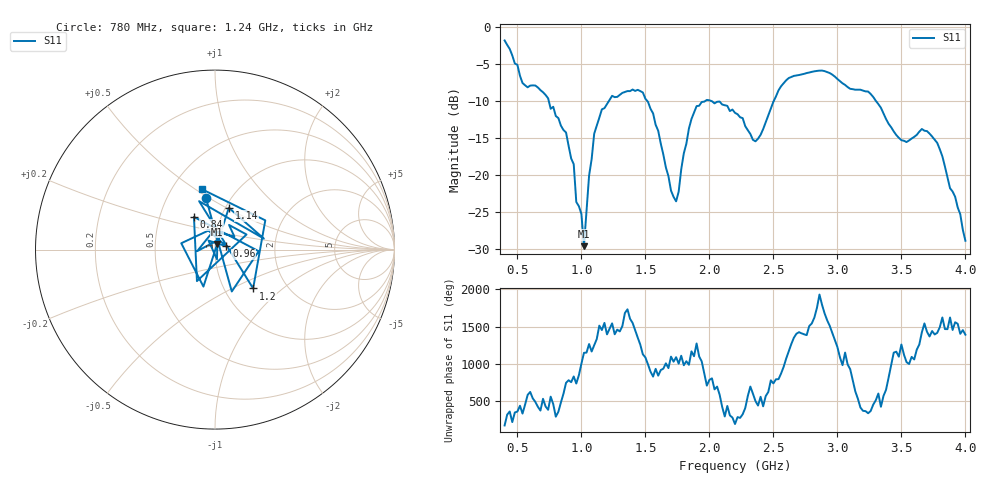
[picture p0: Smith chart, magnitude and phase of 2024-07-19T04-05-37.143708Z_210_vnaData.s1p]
!Created with skrf (http://scikit-rf.org).
# Hz S RI R 50.0
!freq ReS11 ImS11
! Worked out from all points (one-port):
!   181 points, 400 MHz to 4 GHz, reference 50 ohm
!   lowest |S11| = -29.6 dB at 1.02 GHz (marker M1), VSWR 1.07, Z = 51.2 + j3.15 ohm
!   |S11| at or under -10 dB: 745.7 MHz to 1.213 GHz (466.9 MHz wide, 47.7 % of centre); 2.021 GHz to 2.502 GHz (481.1 MHz wide, 21.3 % of centre); 3.303 GHz to end of sweep (the widest 3 of 4)
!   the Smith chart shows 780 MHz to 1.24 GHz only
!   S11 on the Smith chart (normalised r, x): 780 MHz: 0.77, +0.48; 840 MHz: 0.74, +0.28; 960 MHz: 1.13, +0.04; 1.14 GHz: 1.04, +0.51; 1.2 GHz: 1.36, -0.65; 1.24 GHz: 0.70, +0.53
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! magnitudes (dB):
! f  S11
! 400 MHz  -1.8
! 540 MHz  -7.5
! 780 MHz  -10.7
! 840 MHz  -13.3
! 860 MHz  -13.9
! 940 MHz  -18.5
! 960 MHz  -23.6
! 1 GHz  -25.2
! 1.02 GHz  -29.6
! 1.06 GHz  -20.0
! 1.1 GHz  -14.4
! 1.14 GHz  -12.2
! 1.2 GHz  -10.4
! 1.24 GHz  -9.3
! 1.3 GHz  -9.1
! 1.48 GHz  -8.8
! 1.6 GHz  -14.0
! 1.7 GHz  -22.1
! 1.76 GHz  -22.2
! 1.84 GHz  -13.7
! 1.9 GHz  -10.7
! 2.2 GHz  -11.6
! 2.36 GHz  -15.4
! 2.66 GHz  -6.6
! 3.1 GHz  -8.3
! 3.56 GHz  -15.3
! 3.78 GHz  -15.6
! 4 GHz  -28.8
